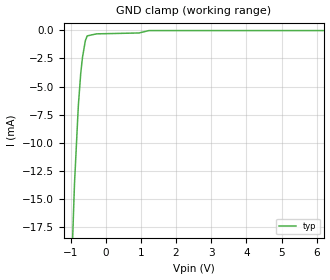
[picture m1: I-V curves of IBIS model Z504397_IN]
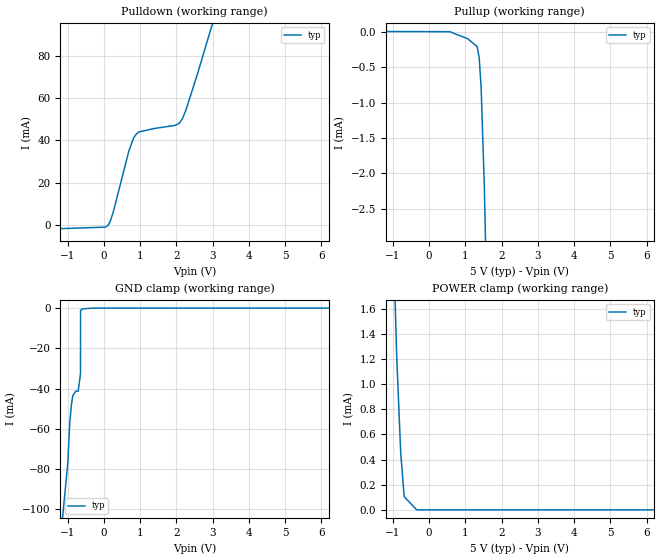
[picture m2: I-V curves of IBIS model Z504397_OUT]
| YOU ARE ONLY AUTHORIZED TO USE THIS SOFTWARE
| ACCORDING TO LICENSOR'S LICENSE RESTRICTIONS.
[IBIS Ver] 3.1
[File Name] sn54ls166j.ibs
[File Rev] 2.0
[Source] Measured and created by ICX Technology
[Date] Friday 7/14/00 9:08:13 AM
[Copyright]
| (C) COPYRIGHT 1993-2000
| MENTOR GRAPHICS CORPORATION
| ICX STANDARD LIBRARY, ICX PROJECT MODELING,
| ICX CUSTOM MODELING, ICX VENDOR MODEL
| ALL RIGHTS RESERVED.
| THE FOLLOWING ARE TRADEMARKS OR SERVICE MARKS OF
| MENTOR GRAPHICS CORPORATION:ICX (R), ICX STANDARD
| LIBRARY(R), ICX PROJECT MODELING(R), ICX CUSTOM
| MODELING(R), qualityIBIS(TM), MODELVIEWER(TM),
| AND MODELEDITOR(TM)
| ALL COPIES OF SOFTWARE, INCLUDING BUT NOT LIMITED TO
| ANY MODIFICATIONS, ENHANCEMENTS OR DERIVATIVE WORKS,
| MUST CONTAIN ALL MENTOR GRAPHICS CORPORATION'S
| NOTICES AND LEGENDS, INCLUDING THOSE EMBEDDED IN
| SOFTWARE AND THOSE AFFIXED TO SOFTWARE MEDIUM
| AND CONTAINER, AS RECEIVED FROM MENTOR GRAPHICS
| CORPORATION.
|  ZAP Model Builder 2.7
[Component] SN54LS166J
[Manufacturer] OnSemiconductor
[Package]
| variable   typ   min   max
R_pkg  .212ohms NA NA
L_pkg  4.758nH NA NA
C_pkg  1.944pF NA NA
[Pin] signal_name  model_name  R_pin  L_pin C_pin
1 SER Z504397_IN .224 7.258n 2.683p
2 A Z504397_IN .216 5.258n 2.19p
3 B Z504397_IN .208 3.758n 1.697p
4 C Z504397_IN .2 2.758n 1.204p
5 D Z504397_IN .2 2.758n 1.204p
6 CLK_INH Z504397_IN .208 3.758n 1.697p
7 CLK Z504397_IN .216 5.258n 2.19p
8 GND GND .224 7.258n 2.683p
9 _CLR Z504397_IN .224 7.258n 2.683p
10 E Z504397_IN .216 5.258n 2.19p
11 F Z504397_IN .208 3.758n 1.697p
12 G Z504397_IN .2 2.758n 1.204p
13 QH Z504397_OUT .2 2.758n 1.204p
14 H Z504397_IN .208 3.758n 1.697p
15 SH_LD Z504397_IN .216 5.258n 2.19p
16 VCC POWER .224 7.258n 2.683p
| Models and submodels in the file (2): Z504397_IN (Input), Z504397_OUT (Output)
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| (C) COPYRIGHT 1993-2000
| MENTOR GRAPHICS CORPORATION
| ICX STANDARD LIBRARY, ICX PROJECT MODELING,
| ICX CUSTOM MODELING, ICX VENDOR MODEL
| ALL RIGHTS RESERVED.
| THE FOLLOWING ARE TRADEMARKS OR SERVICE MARKS OF
| MENTOR GRAPHICS CORPORATION:ICX (R), ICX STANDARD
| LIBRARY(R), ICX PROJECT MODELING(R), ICX CUSTOM
| MODELING(R), qualityIBIS(TM), MODELVIEWER(TM),
| AND MODELEDITOR(TM)
| ALL COPIES OF SOFTWARE, INCLUDING BUT NOT LIMITED TO
| ANY MODIFICATIONS, ENHANCEMENTS OR DERIVATIVE WORKS,
| MUST CONTAIN ALL MENTOR GRAPHICS CORPORATION'S
| NOTICES AND LEGENDS, INCLUDING THOSE EMBEDDED IN
| SOFTWARE AND THOSE AFFIXED TO SOFTWARE MEDIUM
| AND CONTAINER, AS RECEIVED FROM MENTOR GRAPHICS
| CORPORATION.
| Model Application Version 1.89 2/18/99.
[Model] Z504397_IN
Model_type Input
Vinl = 800.0mV
Vinh = 2.000V
C_comp 4.000pF NA NA
| variable typ   min   max
[Voltage Range] 5.000V NA NA
[GND Clamp Reference] 0.000V NA NA
[POWER Clamp Reference] 5.000V NA NA
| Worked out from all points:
|   GND clamp passes 1 mA (typ) near -0.58 V on its own axis
[GND Clamp]
-5V       -393.8mA   NA         NA
-888.7mV  -13.73mA   NA         NA
-779.2mV  -6.726mA   NA         NA
-710.9mV  -3.838mA   NA         NA
-661.4mV  -2.414mA   NA         NA
-580.5mV  -922.5uA   NA         NA
-527.2mV  -482.6uA   NA         NA
-263.6mV  -300.5uA   NA         NA
947mV     -222.1uA   NA         NA
1.227V    -8.377uA   NA         NA
10V       -8.377uA   NA         NA
[POWER Clamp]
-5V       0A         NA         NA
10V       0A         NA         NA
| (C) COPYRIGHT 1993-2000
| MENTOR GRAPHICS CORPORATION
| ICX STANDARD LIBRARY, ICX PROJECT MODELING,
| ICX CUSTOM MODELING, ICX VENDOR MODEL
| ALL RIGHTS RESERVED.
| THE FOLLOWING ARE TRADEMARKS OR SERVICE MARKS OF
| MENTOR GRAPHICS CORPORATION:ICX (R), ICX STANDARD
| LIBRARY(R), ICX PROJECT MODELING(R), ICX CUSTOM
| MODELING(R), qualityIBIS(TM), MODELVIEWER(TM),
| AND MODELEDITOR(TM)
| ALL COPIES OF SOFTWARE, INCLUDING BUT NOT LIMITED TO
| ANY MODIFICATIONS, ENHANCEMENTS OR DERIVATIVE WORKS,
| MUST CONTAIN ALL MENTOR GRAPHICS CORPORATION'S
| NOTICES AND LEGENDS, INCLUDING THOSE EMBEDDED IN
| SOFTWARE AND THOSE AFFIXED TO SOFTWARE MEDIUM
| AND CONTAINER, AS RECEIVED FROM MENTOR GRAPHICS
| CORPORATION.
| Model Application Version 1.89 2/18/99.
[Model] Z504397_OUT
Model_type Output
Vref=5.000V
Rref=2.000kohms
Cref=15.00pF
Vmeas=1.300V
C_comp 8.000pF NA NA
| variable typ   min   max
[Voltage Range] 5.000V NA NA
[POWER Clamp Reference] 5.000V NA NA
[Pullup Reference] 5.000V NA NA
[Pulldown Reference] 0.000V NA NA
[GND Clamp Reference] 0.000V NA NA
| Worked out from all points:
|   slope of the pulldown table from 0 to 0.75 V, typ, clamps not added: 19.3 ohm
|   slope of the pullup table from 0 to 0.75 V, typ, clamps not added: 20.1 kohm
|   GND clamp passes 1 mA (typ) near -0.64 V on its own axis
|   POWER clamp passes 1 mA (typ) near -0.86 V on its own axis
[GND Clamp]
-5V       -986mA     NA         NA
-1.166V   -108.8mA   NA         NA
-997.4mV  -77.16mA   NA         NA
-945.1mV  -57.55mA   NA         NA
-895.7mV  -47.8mA    NA         NA
-857.4mV  -43.38mA   NA         NA
-773.7mV  -41.26mA   NA         NA
-710.3mV  -41.26mA   NA         NA
-646.8mV  -32.68mA   NA         NA
-644.4mV  -1.085mA   NA         NA
-585.9mV  -386.5uA   NA         NA
10V       0A         NA         NA
[Pulldown]
-5V       -3.878mA   NA         NA
68.66mV   -760.5uA   NA         NA
132mV     297.3uA    NA         NA
261.7mV   6.387mA    NA         NA
687.8mV   34.93mA    NA         NA
820.3mV   41.18mA    NA         NA
959.5mV   43.91mA    NA         NA
1.957V    47.01mA    NA         NA
2.09V     48.3mA     NA         NA
2.265V    54.36mA    NA         NA
2.568V    70.5mA     NA         NA
10V       495.9mA    NA         NA
[Pullup]
-5V       12.01uA    NA         NA
566mV     4.593uA    NA         NA
1.061V    -93.85uA   NA         NA
1.323V    -205.6uA   NA         NA
1.381V    -360.7uA   NA         NA
1.435V    -790uA     NA         NA
1.523V    -2.187mA   NA         NA
10V       -205.5mA   NA         NA
[POWER Clamp]
-5V       43.12mA    NA         NA
-898mV    1.234mA    NA         NA
-786mV    455.2uA    NA         NA
-689mV    104.9uA    NA         NA
-344.5mV  0A         NA         NA
10V       0A         NA         NA
[Ramp]
| variable typ min max
dV/dt_r 1.915/11.03n NA NA
dV/dt_f 1.915/3.866n NA NA
R_load = 500.0Ohms
